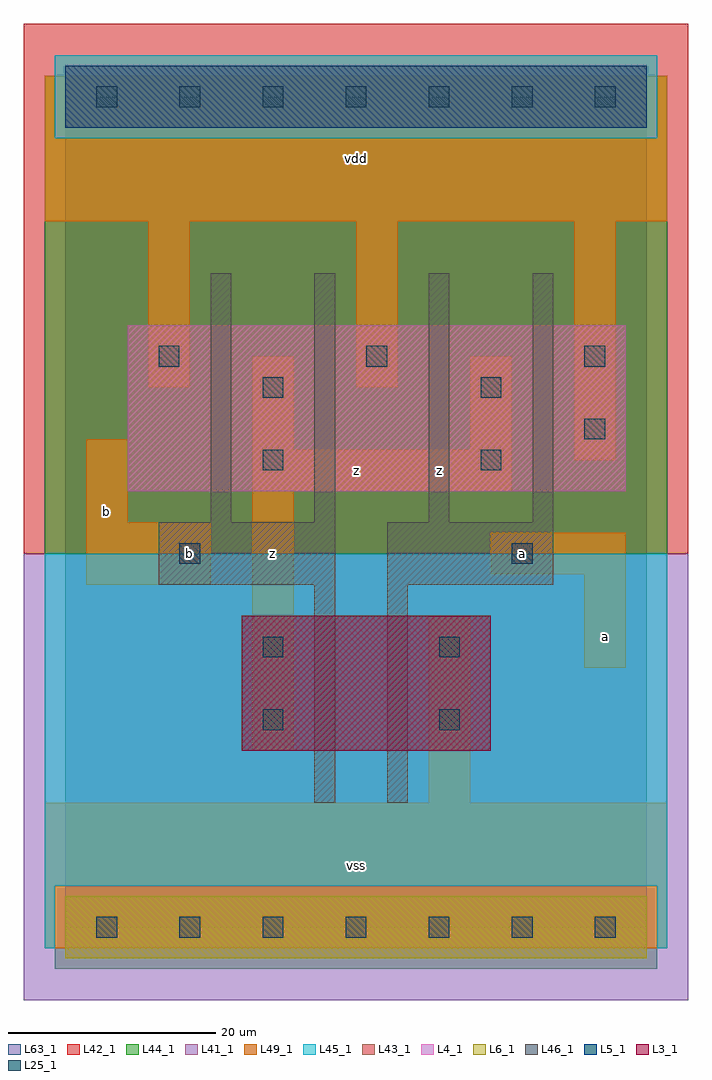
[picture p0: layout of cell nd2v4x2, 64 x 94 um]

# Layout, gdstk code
import gdstk
lib = gdstk.Library(unit=1e-6, precision=1e-09)
def R(c, l, rs):  # rectangles x0, y0, x1, y1
    for r in rs: c.add(gdstk.rectangle(r[:2], r[2:], *l))
def A(c, l, x, y, w, h, nx, ny, dx, dy):  # array of equal rectangles
    R(c, l, [(x+i*dx, y+j*dy, x+i*dx+w, y+j*dy+h) for i in range(nx) for j in range(ny)])
L3_1 = (3, 1)
L4_1 = (4, 1)
L5_1 = (5, 1)
L6_1 = (6, 1)
L25_1 = (25, 1)
L41_1 = (41, 1)
L42_1 = (42, 1)
L43_1 = (43, 1)
L44_1 = (44, 1)
L45_1 = (45, 1)
L46_1 = (46, 1)
L49_1 = (49, 1)
L63_1 = (63, 1)

nd2v4x2 = lib.new_cell('nd2v4x2')
R(nd2v4x2, L3_1, [(17,17,41,30)])
R(nd2v4x2, L4_1, [(6,42,54,58)])
R(nd2v4x2, L5_1, [(0,77,56,83)])
R(nd2v4x2, L6_1, [(0,-3,56,3), (0,-3,56,3)])
A(nd2v4x2, L25_1, 3, -1, 2, 2, 7, 2, 8, 80)
R(nd2v4x2, L25_1, [(19,19,21,21), (36,19,38,21), (19,26,21,28), (36,26,38,28), (11,35,13,37), (43,35,45,37), (19,44,21,46), (40,44,42,46), (50,47,52,49), (19,51,21,53), (40,51,42,53), (9,54,11,56), (29,54,31,56), (50,54,52,56)])
R(nd2v4x2, L41_1, [(-4,-7,60,36)])
R(nd2v4x2, L42_1, [(-4,36,60,87)])
R(nd2v4x2, L43_1, [(0,-3,56,3), (17,17,41,30), (6,42,54,58), (0,77,56,83)])
R(nd2v4x2, L44_1, [(-1,-4,57,4), (-2,36,58,76), (-2,76,-1,82), (57,76,58,82)])
R(nd2v4x2, L45_1, [(-2,-2,-1,4), (57,-2,58,4), (-2,4,58,36), (-1,76,57,84)])
R(nd2v4x2, L46_1, [(24,12,26,33), (31,12,33,33), (9,33,26,39), (31,33,47,39), (14,39,16,63), (24,39,26,63), (35,39,37,63), (45,39,47,63)])
R(nd2v4x2, L49_1, [(-2,-2,58,12), (35,12,39,30), (18,17,22,42), (50,25,54,34), (2,33,14,39), (41,34,54,38), (2,39,6,47), (18,42,43,46), (49,45,53,68), (18,46,22,55), (39,46,43,55), (8,52,12,68), (28,52,32,68), (-2,68,58,82)])
R(nd2v4x2, L63_1, [(0,0,56,80)])
nd2v4x2.add(gdstk.Label('b', (4,40), layer=49, texttype=1))
nd2v4x2.add(gdstk.Label('b', (12,36), layer=49, texttype=1))
nd2v4x2.add(gdstk.Label('z', (20,36), layer=49, texttype=1))
nd2v4x2.add(gdstk.Label('vss', (28,6), layer=49, texttype=1))
nd2v4x2.add(gdstk.Label('z', (36,44), layer=49, texttype=1))
nd2v4x2.add(gdstk.Label('z', (28,44), layer=49, texttype=1))
nd2v4x2.add(gdstk.Label('vdd', (28,74), layer=49, texttype=1))
nd2v4x2.add(gdstk.Label('a', (44,36), layer=49, texttype=1))
nd2v4x2.add(gdstk.Label('a', (52,28), layer=49, texttype=1))

lib.write_gds('nd2v4x2.gds')
